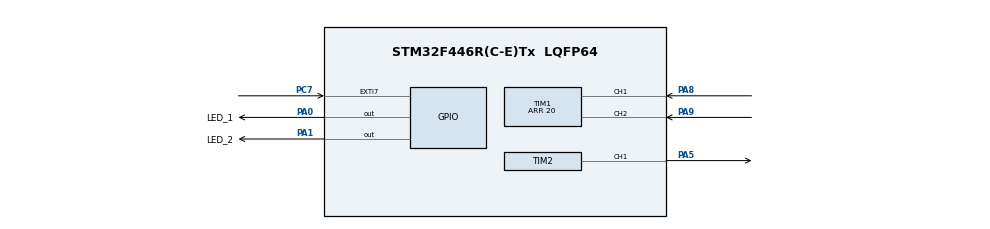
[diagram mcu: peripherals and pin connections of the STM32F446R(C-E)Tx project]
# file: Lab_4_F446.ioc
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Mcu.Family=STM32F4
Mcu.Name=STM32F446R(C-E)Tx
Mcu.Package=LQFP64
NVIC.EXTI9_5_IRQn=true\:0\:0\:false\:false\:true\:true\:true\:true
NVIC.PriorityGroup=NVIC_PRIORITYGROUP_4
NVIC.TIM1_UP_TIM10_IRQn=true\:0\:0\:false\:false\:true\:true\:true\:true
NVIC.TIM2_IRQn=true\:0\:0\:false\:false\:true\:true\:true\:true
PA0-WKUP.GPIO_Label=LED_1
PA0-WKUP.Signal=GPIO_Output
PA1.GPIO_Label=LED_2
PA1.Signal=GPIO_Output
PA5.Signal=S_TIM2_CH1_ETR
PA8.Signal=S_TIM1_CH1
PA9.Signal=S_TIM1_CH2
PC7.GPIO_ModeDefaultEXTI=GPIO_MODE_IT_RISING
PC7.GPIO_PuPd=GPIO_NOPULL
PC7.Signal=GPXTI7
PH0-OSC_IN.Mode=HSE-External-Oscillator
PH0-OSC_IN.Signal=RCC_OSC_IN
PH1-OSC_OUT.Mode=HSE-External-Oscillator
PH1-OSC_OUT.Signal=RCC_OSC_OUT
ProjectManager.HeapSize=0x200
ProjectManager.StackSize=0x400
ProjectManager.TargetToolchain=STM32CubeIDE
RCC.CortexFreq_Value=16000000
RCC.USBFreq_Value=96000000
RCC.VCOOutputFreq_Value=192000000
SH.S_TIM1_CH1.0=TIM1_CH1,Encoder_Interface
SH.S_TIM1_CH2.0=TIM1_CH2,Encoder_Interface
SH.S_TIM2_CH1_ETR.0=TIM2_CH1,PWM Generation1 CH1
TIM1.IC1Filter=4
TIM1.IC2Filter=4
TIM1.Period=20
TIM2.Channel-PWM\ Generation1\ CH1=TIM_CHANNEL_1
TIM2.Period=100-1
TIM2.Prescaler=160-1
VP_TIM2_VS_ClockSourceINT.Mode=Internal
board=custom

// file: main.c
/* USER CODE BEGIN Header */
/**
  ******************************************************************************
  * @file           : main.c
  * @brief          : Main program body
  ******************************************************************************
  * @attention
  *
  * Copyright (c) 2023 STMicroelectronics.
  * All rights reserved.
  *
  * This software is licensed under terms that can be found in the LICENSE file
  * in the root directory of this software component.
  * If no LICENSE file comes with this software, it is provided AS-IS.
  *
  ******************************************************************************
  */
/* USER CODE END Header */
#include "main.h"

 TIM_HandleTypeDef htim1;
TIM_HandleTypeDef htim2;

/* USER CODE BEGIN PV */
uint16_t enc_val = 0;
extern uint16_t button_state;
uint16_t curr_led;
uint16_t last_enc = 0;
/* USER CODE END PV */

void SystemClock_Config(void);
static void MX_GPIO_Init(void);
static void MX_TIM2_Init(void);
static void MX_TIM1_Init(void);

int main(void)
{

  /* MCU Configuration--------------------------------------------------------*/

  /* Reset of all peripherals, Initializes the Flash interface and the Systick. */
  HAL_Init();

  /* Configure the system clock */
  SystemClock_Config();

  /* Initialize all configured peripherals */
  MX_GPIO_Init();
  MX_TIM2_Init();
  MX_TIM1_Init();
  /* USER CODE BEGIN 2 */
	__HAL_TIM_CLEAR_IT(&htim1, TIM_IT_UPDATE); //TIM1->SR = ~TIM_SR_UIF;
	HAL_TIM_Encoder_Start_IT(&htim1, TIM_CHANNEL_1);
	HAL_TIM_Base_Start_IT(&htim1);

	HAL_TIM_Base_Start_IT(&htim2);
	HAL_TIM_PWM_Start(&htim2, TIM_CHANNEL_1);

	HAL_GPIO_WritePin(GPIOA, LED_1_Pin|LED_2_Pin, GPIO_PIN_RESET);
  /* USER CODE END 2 */

  /* Infinite loop */
  /* USER CODE BEGIN WHILE */
  while (1)
  {
	enc_val = TIM1->CNT;
	if (button_state && last_enc != enc_val) {
		button_state = 0;
	}

	if (enc_val >= 0 && enc_val <= 6) {
	  HAL_GPIO_WritePin(GPIOA, LED_2_Pin, GPIO_PIN_RESET);
	  if (button_state) {
		  TIM2->CCR1 = 29;
	  }
	  else {
		  TIM2->CCR1 = 0;
	  }
	  HAL_GPIO_WritePin(GPIOA, LED_1_Pin, GPIO_PIN_SET);
	  curr_led = 1;
	}
	else if (enc_val >= 7 && enc_val <= 14) {
	  HAL_GPIO_WritePin(GPIOA, LED_1_Pin, GPIO_PIN_RESET);
	  if (button_state) {
		  TIM2->CCR1 = 29;
	  }
	  else {
		  TIM2->CCR1 = 0;
	  }
	  HAL_GPIO_WritePin(GPIOA, LED_2_Pin, GPIO_PIN_SET);
	  curr_led = 2;
	}
	else if (enc_val >= 15 && enc_val <= 20) {
	  HAL_GPIO_WritePin(GPIOA, LED_1_Pin|LED_2_Pin, GPIO_PIN_RESET);
	  if (button_state) {
		  TIM2->CCR1 = 29;
	  }
	  else {
		  TIM2->CCR1 = 98;
	  }
	  curr_led = 3;
	}
	last_enc = enc_val;
    /* USER CODE END WHILE */

  }
}

void SystemClock_Config(void)
{
  RCC_OscInitTypeDef RCC_OscInitStruct = {0};
  RCC_ClkInitTypeDef RCC_ClkInitStruct = {0};

  /** Configure the main internal regulator output voltage
  */
  __HAL_RCC_PWR_CLK_ENABLE();
  __HAL_PWR_VOLTAGESCALING_CONFIG(PWR_REGULATOR_VOLTAGE_SCALE3);

  /** Initializes the RCC Oscillators according to the specified parameters
  * in the RCC_OscInitTypeDef structure.
  */
  RCC_OscInitStruct.OscillatorType = RCC_OSCILLATORTYPE_HSI;
  RCC_OscInitStruct.HSIState = RCC_HSI_ON;
  RCC_OscInitStruct.HSICalibrationValue = RCC_HSICALIBRATION_DEFAULT;
  RCC_OscInitStruct.PLL.PLLState = RCC_PLL_NONE;
  if (HAL_RCC_OscConfig(&RCC_OscInitStruct) != HAL_OK)
  {
    Error_Handler();
  }

  /** Initializes the CPU, AHB and APB buses clocks
  */
  RCC_ClkInitStruct.ClockType = RCC_CLOCKTYPE_HCLK|RCC_CLOCKTYPE_SYSCLK
                              |RCC_CLOCKTYPE_PCLK1|RCC_CLOCKTYPE_PCLK2;
  RCC_ClkInitStruct.SYSCLKSource = RCC_SYSCLKSOURCE_HSI;
  RCC_ClkInitStruct.AHBCLKDivider = RCC_SYSCLK_DIV1;
  RCC_ClkInitStruct.APB1CLKDivider = RCC_HCLK_DIV1;
  RCC_ClkInitStruct.APB2CLKDivider = RCC_HCLK_DIV1;

  if (HAL_RCC_ClockConfig(&RCC_ClkInitStruct, FLASH_LATENCY_0) != HAL_OK)
  {
    Error_Handler();
  }
}

static void MX_TIM1_Init(void)
{

  TIM_Encoder_InitTypeDef sConfig = {0};
  TIM_MasterConfigTypeDef sMasterConfig = {0};

  htim1.Instance = TIM1;
  htim1.Init.Prescaler = 0;
  htim1.Init.CounterMode = TIM_COUNTERMODE_UP;
  htim1.Init.Period = 20;
  htim1.Init.ClockDivision = TIM_CLOCKDIVISION_DIV1;
  htim1.Init.RepetitionCounter = 0;
  htim1.Init.AutoReloadPreload = TIM_AUTORELOAD_PRELOAD_DISABLE;
  sConfig.EncoderMode = TIM_ENCODERMODE_TI1;
  sConfig.IC1Polarity = TIM_ICPOLARITY_RISING;
  sConfig.IC1Selection = TIM_ICSELECTION_DIRECTTI;
  sConfig.IC1Prescaler = TIM_ICPSC_DIV1;
  sConfig.IC1Filter = 4;
  sConfig.IC2Polarity = TIM_ICPOLARITY_RISING;
  sConfig.IC2Selection = TIM_ICSELECTION_DIRECTTI;
  sConfig.IC2Prescaler = TIM_ICPSC_DIV1;
  sConfig.IC2Filter = 4;
  if (HAL_TIM_Encoder_Init(&htim1, &sConfig) != HAL_OK)
  {
    Error_Handler();
  }
  sMasterConfig.MasterOutputTrigger = TIM_TRGO_RESET;
  sMasterConfig.MasterSlaveMode = TIM_MASTERSLAVEMODE_DISABLE;
  if (HAL_TIMEx_MasterConfigSynchronization(&htim1, &sMasterConfig) != HAL_OK)
  {
    Error_Handler();
  }

}

static void MX_TIM2_Init(void)
{

  TIM_ClockConfigTypeDef sClockSourceConfig = {0};
  TIM_MasterConfigTypeDef sMasterConfig = {0};
  TIM_OC_InitTypeDef sConfigOC = {0};

  htim2.Instance = TIM2;
  htim2.Init.Prescaler = 160-1;
  htim2.Init.CounterMode = TIM_COUNTERMODE_UP;
  htim2.Init.Period = 100-1;
  htim2.Init.ClockDivision = TIM_CLOCKDIVISION_DIV1;
  htim2.Init.AutoReloadPreload = TIM_AUTORELOAD_PRELOAD_DISABLE;
  if (HAL_TIM_Base_Init(&htim2) != HAL_OK)
  {
    Error_Handler();
  }
  sClockSourceConfig.ClockSource = TIM_CLOCKSOURCE_INTERNAL;
  if (HAL_TIM_ConfigClockSource(&htim2, &sClockSourceConfig) != HAL_OK)
  {
    Error_Handler();
  }
  if (HAL_TIM_PWM_Init(&htim2) != HAL_OK)
  {
    Error_Handler();
  }
  sMasterConfig.MasterOutputTrigger = TIM_TRGO_RESET;
  sMasterConfig.MasterSlaveMode = TIM_MASTERSLAVEMODE_DISABLE;
  if (HAL_TIMEx_MasterConfigSynchronization(&htim2, &sMasterConfig) != HAL_OK)
  {
    Error_Handler();
  }
  sConfigOC.OCMode = TIM_OCMODE_PWM1;
  sConfigOC.Pulse = 0;
  sConfigOC.OCPolarity = TIM_OCPOLARITY_HIGH;
  sConfigOC.OCFastMode = TIM_OCFAST_DISABLE;
  if (HAL_TIM_PWM_ConfigChannel(&htim2, &sConfigOC, TIM_CHANNEL_1) != HAL_OK)
  {
    Error_Handler();
  }
  HAL_TIM_MspPostInit(&htim2);

}

static void MX_GPIO_Init(void)
{
  GPIO_InitTypeDef GPIO_InitStruct = {0};

  /* GPIO Ports Clock Enable */
  __HAL_RCC_GPIOH_CLK_ENABLE();
  __HAL_RCC_GPIOA_CLK_ENABLE();
  __HAL_RCC_GPIOC_CLK_ENABLE();

  /*Configure GPIO pin Output Level */
  HAL_GPIO_WritePin(GPIOA, LED_1_Pin|LED_2_Pin, GPIO_PIN_RESET);

  /*Configure GPIO pins : LED_1_Pin LED_2_Pin */
  GPIO_InitStruct.Pin = LED_1_Pin|LED_2_Pin;
  GPIO_InitStruct.Mode = GPIO_MODE_OUTPUT_PP;
  GPIO_InitStruct.Pull = GPIO_NOPULL;
  GPIO_InitStruct.Speed = GPIO_SPEED_FREQ_LOW;
  HAL_GPIO_Init(GPIOA, &GPIO_InitStruct);

  /*Configure GPIO pin : PC7 */
  GPIO_InitStruct.Pin = GPIO_PIN_7;
  GPIO_InitStruct.Mode = GPIO_MODE_IT_RISING;
  GPIO_InitStruct.Pull = GPIO_NOPULL;
  HAL_GPIO_Init(GPIOC, &GPIO_InitStruct);

  /* EXTI interrupt init*/
  HAL_NVIC_SetPriority(EXTI9_5_IRQn, 0, 0);
  HAL_NVIC_EnableIRQ(EXTI9_5_IRQn);

}

void Error_Handler(void)
{
  __disable_irq();
  while (1)
  {
  }
}
